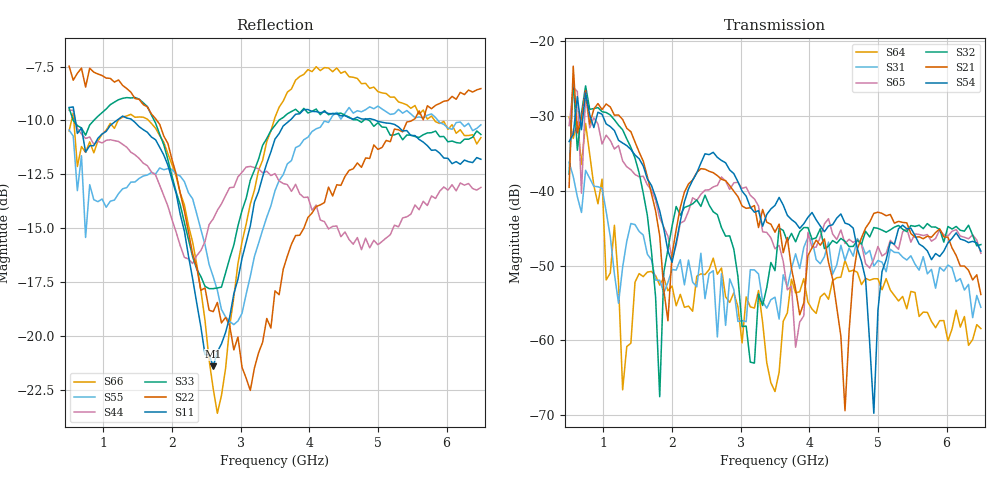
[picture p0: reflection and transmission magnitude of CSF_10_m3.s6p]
!Keysight Technologies,M9804A,MY58100912,A.14.10.03
!Date: Thursday, April 27, 2023 10:28:33
!Correction: S11(C  6-Port  )
!S12(C  6-Port  )
!S13(C  6-Port  )
!S14(C  6-Port  )
!S15(C  6-Port  )
!S16(C  6-Port  )
!S21(C  6-Port  )
!S22(C  6-Port  )
!S23(C  6-Port  )
!S24(C  6-Port  )
!S25(C  6-Port  )
!S26(C  6-Port  )
!S31(C  6-Port  )
!S32(C  6-Port  )
!S33(C  6-Port  )
!S34(C  6-Port  )
!S35(C  6-Port  )
!S36(C  6-Port  )
!S41(C  6-Port  )
!S42(C  6-Port  )
!S43(C  6-Port  )
!S44(C  6-Port  )
!S45(C  6-Port  )
!S46(C  6-Port  )
!S51(C  6-Port  )
!S52(C  6-Port  )
!S53(C  6-Port  )
!S54(C  6-Port  )
!S55(C  6-Port  )
!S56(C  6-Port  )
!S61(C  6-Port  )
!S62(C  6-Port  )
!S63(C  6-Port  )
!S64(C  6-Port  )
!S65(C  6-Port  )
!S66(C  6-Port  )
!S6P File: Measurement: :
# Hz S  RI  R 50
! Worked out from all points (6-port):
!   101 points, 500 MHz to 6.5 GHz, reference 50 ohm
!   strongest paths, dB at 500 MHz, 2 GHz, 3.5 GHz, 5 GHz, 6.5 GHz:
!     S54: -33.4, -49.6, -42.0, -56.0, -48.1
!     S21: -39.5, -48.5, -45.5, -42.9, -53.9
!     S32: -37.8, -44.7, -50.7, -45.0, -47.2
!     S65: -31.3, -49.1, -47.8, -47.4, -48.4
!     S31: -36.2, -50.5, -54.2, -49.3, -55.6
!     S64: -30.1, -52.7, -66.8, -51.8, -58.4
!   lowest |S11| = -21.4 dB at 2.6 GHz (marker M1), VSWR 1.19, Z = 42.5 + j2.2 ohm
!   |S11| at or under -10 dB: 590.6 MHz to 1.193 GHz (602.7 MHz wide, 67.6 % of centre); 1.427 GHz to 3.714 GHz (2.288 GHz wide, 89 % of centre); 4.969 GHz to end of sweep
